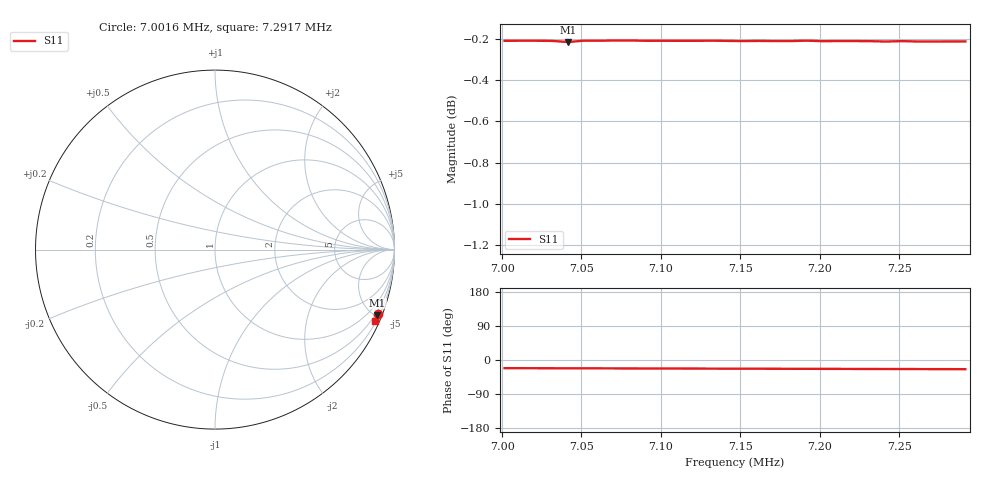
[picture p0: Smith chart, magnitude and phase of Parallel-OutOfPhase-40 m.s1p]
# HZ S RI R 50
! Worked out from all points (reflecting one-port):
!   30 points, 7.0016 MHz to 7.2917 MHz, reference 50 ohm
!   lowest |S11| = -0.2 dB at 7.0416 MHz (marker M1), VSWR 81.06, Z = 17 - j257 ohm
!   phase of S11 starts at -22 deg and turns -3 deg over the sweep
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7001600  0.9082 -0.3582
7011604  0.9077 -0.3597
7021608  0.907 -0.3613
7031612  0.9064 -0.3627
7041616  0.9052 -0.364
7051620  0.9054 -0.3656
7061624  0.9047 -0.3671
7071628  0.9042 -0.3686
7081632  0.9036 -0.37
7091636  0.9029 -0.3713
7101640  0.9022 -0.373
7111644  0.9016 -0.3745
7131652  0.9005 -0.3774
7141656  0.8997 -0.3788
7151660  0.8991 -0.3802
7161664  0.8985 -0.3817
7171668  0.8978 -0.3831
7181672  0.8972 -0.3846
7191676  0.8968 -0.3861
7201680  0.8959 -0.3875
7211684  0.8953 -0.389
7221688  0.8947 -0.3904
7231692  0.894 -0.3918
7241696  0.8932 -0.3932
7251700  0.8927 -0.3948
7261704  0.8919 -0.3961
7271708  0.8912 -0.3976
7291716  0.89 -0.4005
